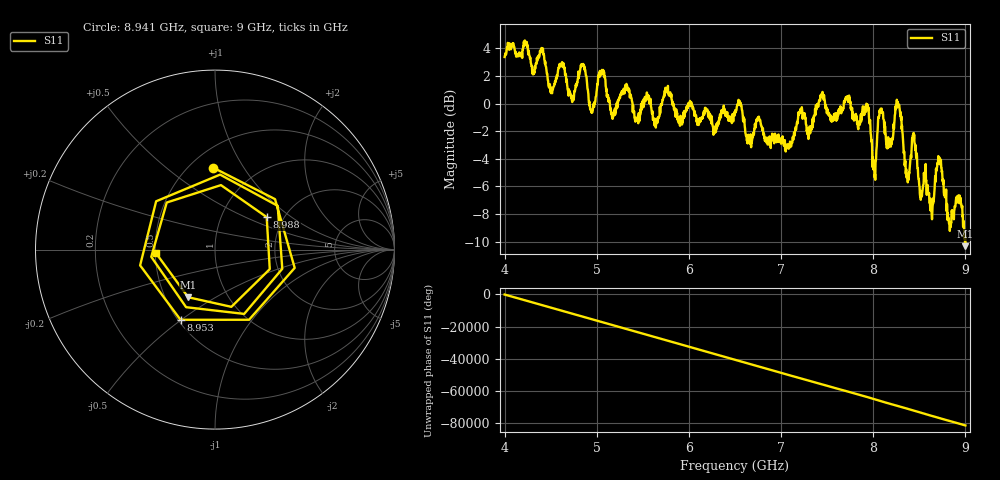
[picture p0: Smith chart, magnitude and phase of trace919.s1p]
! Created with skrf 1.8.0 (http://scikit-rf.org).
# Hz S RI R 50.0
!freq ReS11 ImS11
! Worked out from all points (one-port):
!   1601 points, 4 GHz to 9 GHz, reference 50 ohm
!   lowest |S11| = -10.3 dB at 8.997 GHz (marker M1), VSWR 1.88, Z = 32.6 - j19.1 ohm
!   |S11| at or under -10 dB: 8.995676 GHz to 8.998414 GHz (2.737 MHz wide, 0.0304 % of centre)
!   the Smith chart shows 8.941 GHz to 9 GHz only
!   S11 on the Smith chart (normalised r, x): 8.941 GHz: 0.65, +0.74; 8.953 GHz: 0.51, -0.50; 8.988 GHz: 1.64, +0.67; 9 GHz: 0.50, -0.02
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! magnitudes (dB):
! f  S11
! 4 GHz  3.4
! 4.403 GHz  4.0
! 4.503 GHz  0.8
! 4.625 GHz  3.0
! 4.731 GHz  0.2
! 4.853 GHz  2.9
! 4.947 GHz  -0.5
! 5.047 GHz  2.1
! 5.25 GHz  0.5
! 5.875 GHz  -1.1
! 6.5 GHz  -0.6
! 7.125 GHz  -2.5
! 7.75 GHz  0.0
! 7.938 GHz  -0.1
! 8.012 GHz  -4.7
! 8.078 GHz  -0.4
! 8.166 GHz  -3.2
! 8.266 GHz  0.1
! 8.375 GHz  -5.7
! 8.441 GHz  -2.6
! 8.625 GHz  -7.5
! 8.712 GHz  -4.0
! 8.822 GHz  -8.7
! 8.941 GHz  -6.8
! 8.953 GHz  -7.2
! 8.988 GHz  -9.4
! 8.997 GHz  -10.3
! 9 GHz  -9.6
